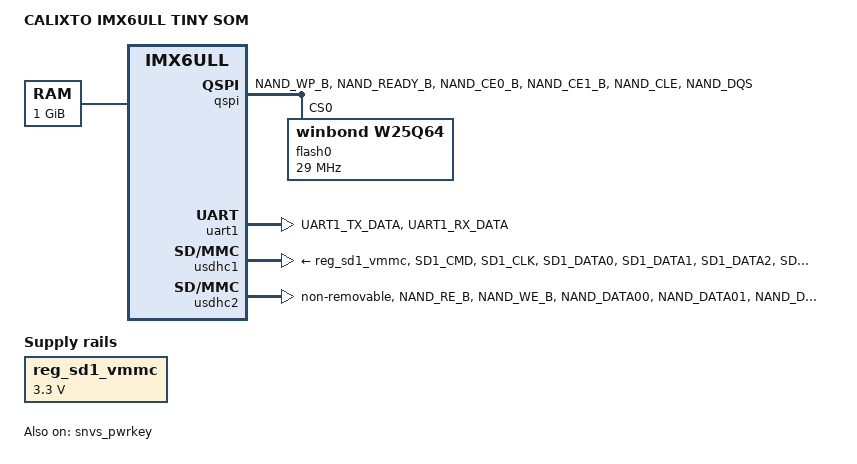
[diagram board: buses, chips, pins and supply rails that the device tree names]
// SPDX-License-Identifier: (GPL-2.0 OR MIT)
//
// Copyright (C) 2025-2026 calixto system pvt ltd - https://www.calixtosystem.com/

/dts-v1/;

#include "imx6ull.dtsi"

/ {
	model = "CALIXTO IMX6ULL TINY SOM";
	compatible = "calixto,imx6ull-tiny-som", "fsl,imx6ull";
	
	aliases {
		bootph-all;
		spi0 = &qspi;
	};
	
	chosen {
		stdout-path = &uart1;
	};
	
	memory@80000000 {
		device_type = "memory";
		reg = <0x80000000 0x40000000>;
	};
	
	reg_sd1_vmmc: regulator-sd1-vmmc {
		compatible = "regulator-fixed";
		regulator-name = "VSD_3V3";
		regulator-min-microvolt = <3300000>;
		regulator-max-microvolt = <3300000>;
		regulator-always-on;
	};
};

&clks {
	assigned-clocks = <&clks IMX6UL_CLK_PLL3_PFD2>,
			  <&clks IMX6UL_CLK_PLL4_AUDIO_DIV>;
	assigned-clock-rates = <320000000>, <786432000>;
};

&soc {
	bootph-all;
};

&aips2 {
	bootph-all;
};

&iomuxc {
	bootph-all;
};

&qspi {
	pinctrl-names = "default";
	pinctrl-0 = <&pinctrl_qspi>;
	status = "okay";

	flash0: flash@0 {
		#address-cells = <1>;
		#size-cells = <1>;
		compatible = "winbond,w25q64", "jedec,spi-nor";
		spi-max-frequency = <29000000>;
		spi-rx-bus-width = <4>;
		spi-tx-bus-width = <1>;
		reg = <0>;
	};
};

&snvs_poweroff {
	status = "okay";
};

&snvs_pwrkey {
	status = "okay";
};

&uart1 {
	pinctrl-names = "default";
	pinctrl-0 = <&pinctrl_uart1>;
	status = "okay";
};

&usdhc1 {
	pinctrl-names = "default";
	pinctrl-0 = <&pinctrl_usdhc1>;
	cd-gpios = <&gpio1 19 GPIO_ACTIVE_LOW>;
	keep-power-in-suspend;
	wakeup-source;
	vmmc-supply = <&reg_sd1_vmmc>;
	max-frequency = <50000000>;
	status = "okay";
	no-mmc;
	no-1-8-v;
};

&usdhc2 {
	pinctrl-names = "default";
	pinctrl-0 = <&pinctrl_usdhc2>;
	non-removable;
	keep-power-in-suspend;
	wakeup-source;
	status = "okay";
};

&iomuxc {
	pinctrl-names = "default";

	pinctrl_qspi: qspigrp {
		fsl,pins = <
			MX6UL_PAD_NAND_WP_B__QSPI_A_SCLK	0x70a1
			MX6UL_PAD_NAND_READY_B__QSPI_A_DATA00	0x70a1
			MX6UL_PAD_NAND_CE0_B__QSPI_A_DATA01	0x70a1
			MX6UL_PAD_NAND_CE1_B__QSPI_A_DATA02	0x70a1
			MX6UL_PAD_NAND_CLE__QSPI_A_DATA03	0x70a1
			MX6UL_PAD_NAND_DQS__QSPI_A_SS0_B	0x70a1
		>;
	};

	pinctrl_uart1: uart1grp {
		fsl,pins = <
			MX6UL_PAD_UART1_TX_DATA__UART1_DCE_TX 0x1b0b1
			MX6UL_PAD_UART1_RX_DATA__UART1_DCE_RX 0x1b0b1
		>;
	};

	pinctrl_usdhc1: usdhc1grp {
		fsl,pins = <
			MX6UL_PAD_SD1_CMD__USDHC1_CMD     	0x17059
			MX6UL_PAD_SD1_CLK__USDHC1_CLK		0x10071
			MX6UL_PAD_SD1_DATA0__USDHC1_DATA0 	0x17059
			MX6UL_PAD_SD1_DATA1__USDHC1_DATA1 	0x17059
			MX6UL_PAD_SD1_DATA2__USDHC1_DATA2 	0x17059
			MX6UL_PAD_SD1_DATA3__USDHC1_DATA3 	0x17059
			MX6UL_PAD_UART1_RTS_B__GPIO1_IO19       0x17059 /* SD1 CD */
		>;
	};

	pinctrl_usdhc2: usdhc2grp {
		fsl,pins = <
			MX6UL_PAD_NAND_RE_B__USDHC2_CLK     0x17059
			MX6UL_PAD_NAND_WE_B__USDHC2_CMD     0x17059
			MX6UL_PAD_NAND_DATA00__USDHC2_DATA0 0x17059
			MX6UL_PAD_NAND_DATA01__USDHC2_DATA1 0x17059
			MX6UL_PAD_NAND_DATA02__USDHC2_DATA2 0x17059
			MX6UL_PAD_NAND_DATA03__USDHC2_DATA3 0x17059
		>;
	};

};
